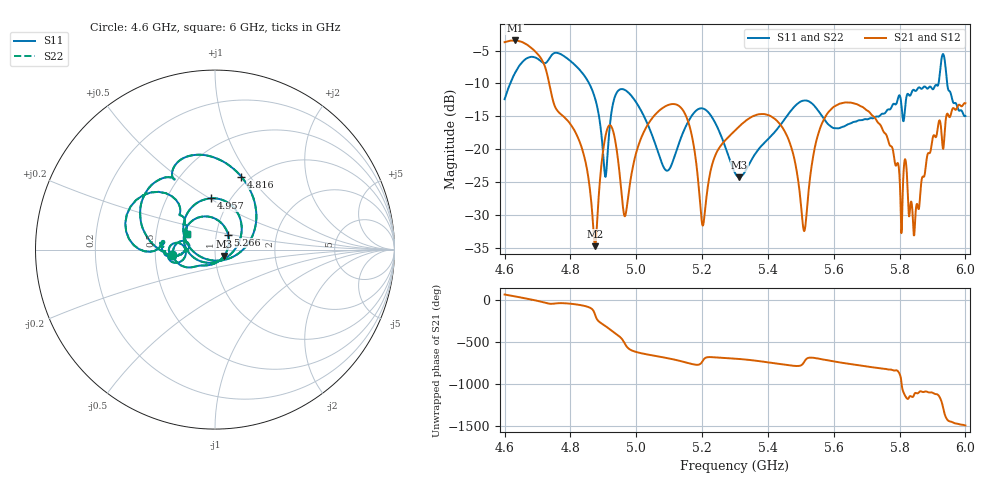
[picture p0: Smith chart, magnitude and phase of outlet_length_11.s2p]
! TOUCHSTONE file generated by CST MICROWAVE STUDIO
! Date and time: Mon Dec  2 04:50:25 2024
! Project name: test_tuning.cst
! Parameters = {airCoaxOuterDiameter=3; chamferAngle=45; chamferWidth=24; connectorLength=10; drillingHoleDiameter=4.1; feedLength=60; flareDiameter=130; flareLength=70; gratingDistance=0; gratingGap=1.90274; outletLength=80; polarizerLength=134; probe1Diameter=1.3; probe1Distance=14; probe1Length=1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
! Header version: 2024
! Port assignment regex: !\s*Touchstone port\s*([0-9]+)\s*=\s*(CST MWS port|CST DES external port|CST DES block port)\s*(.+)\s* \(\"(.*)\"\)(\s*mode\s*([0-9]+))?.*
! Touchstone port assignment:
! Touchstone port 1 = CST MWS port 1 ("Input1")
! Touchstone port 2 = CST MWS port 2 ("Input2")
# GHz S MA R 50
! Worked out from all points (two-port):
!   1001 points, 4.6 GHz to 6 GHz, reference 50 ohm
!   highest |S21| = -3.46 dB at 4.631 GHz (marker M1); lowest = -34.7 dB at 4.874 GHz (marker M2)
!   |S21| within 3 dB of the highest: start of sweep to 4.714 GHz
!   lowest |S11| = -24.3 dB at 5.313 GHz (marker M3), VSWR 1.13, Z = 55 - j4 ohm
!   |S11| at or under -10 dB: start of sweep to 4.617176 GHz; 4.857 GHz to 5.918 GHz (1.062 GHz wide, 19.7 % of centre); 5.945 GHz to end of sweep
!   |S22| runs from -24.3 to -5.3 dB; largest |S21 - S12| = 2.2e-06
!   S11 on the Smith chart (normalised r, x): 4.6 GHz: 0.61, -0.04; 4.816 GHz: 0.91, +0.91; 4.957 GHz: 0.82, +0.51; 5.266 GHz: 1.14, +0.19; 6 GHz: 0.72, +0.13
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4.6  0.24 -172.2  0.6516 69.2  0.6516 69.2  0.24 -172.2
4.6308  0.3767 170.7  0.6714 48.0  0.6714 48.0  0.3767 170.7
4.7232  0.4513 120.1  0.4203 -29.7  0.4203 -29.7  0.4513 120.1
4.8156  0.4322 70.2  0.1339 -48.0  0.1339 -48.0  0.4322 70.2
4.8338  0.386 59.8  0.1037 -59.5  0.1037 -59.5  0.386 59.8
4.8744  0.2455 26.4  0.0183 -166.6  0.0183 -166.6  0.2455 26.4
4.9164  0.1216 -175.1  0.1506 22.4  0.1506 22.4  0.1216 -175.1
4.957  0.2865 94.3  0.0419 -105.9  0.0419 -105.9  0.2865 94.3
5.0676  0.0926 -14.2  0.1943 47.1  0.1943 47.1  0.0926 -14.2
5.1516  0.1511 -176.1  0.1779 -25.3  0.1779 -25.3  0.1511 -176.1
5.202  0.2041 124.8  0.0262 -5.3  0.02621 -5.3  0.2041 124.8
5.2664  0.111 48.9  0.114 28.6  0.114 28.6  0.111 48.9
5.3  0.06604 -8.0  0.139 20.9  0.139 20.9  0.06604 -8.0
5.3126  0.06116 -36.3  0.1489 17.5  0.1489 17.5  0.06116 -36.3
5.4428  0.1587 -141.9  0.1479 -46.3  0.1479 -46.3  0.1587 -141.9
5.51  0.2345 -172.6  0.02382 -18.8  0.02382 -18.8  0.2345 -172.6
5.5338  0.223 173.7  0.07747 32.9  0.07747 32.9  0.223 173.7
5.6206  0.1459 177.1  0.2228 -25.6  0.2228 -25.6  0.1459 177.1
5.7676  0.2006 -172.7  0.1112 -108.7  0.1112 -108.7  0.2006 -172.7
5.846  0.2796 -178.3  0.02491 -35.7  0.02491 -35.7  0.2796 -178.3
5.9328  0.5282 153.2  0.1004 143.1  0.1004 143.1  0.5282 153.2
6  0.1791 151.9  0.2236 -59.1  0.2236 -59.1  0.1791 151.9
